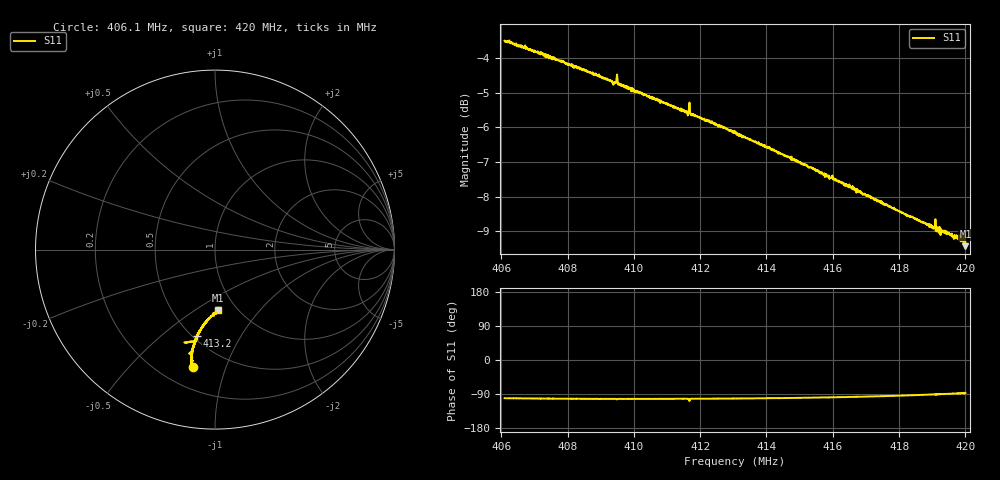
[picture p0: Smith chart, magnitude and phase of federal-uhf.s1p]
! Calibrated averaged scanner-service zoom
# Hz S RI R 50
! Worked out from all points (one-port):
!   2001 points, 406.1 MHz to 420 MHz, reference 50 ohm
!   lowest |S11| = -9.4 dB at 420 MHz (marker M1), VSWR 2.02, Z = 41 - j31.2 ohm
!   |S11| at or under -10 dB: nowhere
!   S11 on the Smith chart (normalised r, x): 406.1 MHz: 0.33, -0.77; 413.2 MHz: 0.53, -0.67; 420 MHz: 0.82, -0.62
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4.061e8  -0.1242 -0.6569
4.06246e8  -0.1269 -0.6566
4.068089e8  -0.1283 -0.6375
4.078375e8  -0.1313 -0.6098
4.089842e8  -0.1316 -0.5791
4.093804e8  -0.1265 -0.5636
4.094916e8  -0.144 -0.58
4.095402e8  -0.1261 -0.5658
4.09575e8  -0.1257 -0.564
4.10555e8  -0.1205 -0.541
4.113125e8  -0.114 -0.522
4.115766e8  -0.1131 -0.5156
4.115905e8  -0.1115 -0.517
4.116183e8  -0.1125 -0.5134
4.116392e8  -0.1167 -0.5124
4.117226e8  -0.1113 -0.5122
4.117364e8  -0.1102 -0.5103
4.117642e8  -0.1097 -0.5102
4.117782e8  -0.1104 -0.5109
4.1305e8  -0.0988 -0.4823
4.13196e8  -0.098 -0.4801
4.147875e8  -0.0787 -0.4444
4.16525e8  -0.0531 -0.409
4.182625e8  -0.0214 -0.3739
4.191243e8  -0.00555 -0.3573
4.192077e8  -0.00288 -0.3602
4.199027e8  0.0132 -0.3471
4.2e8  0.017 -0.3375
